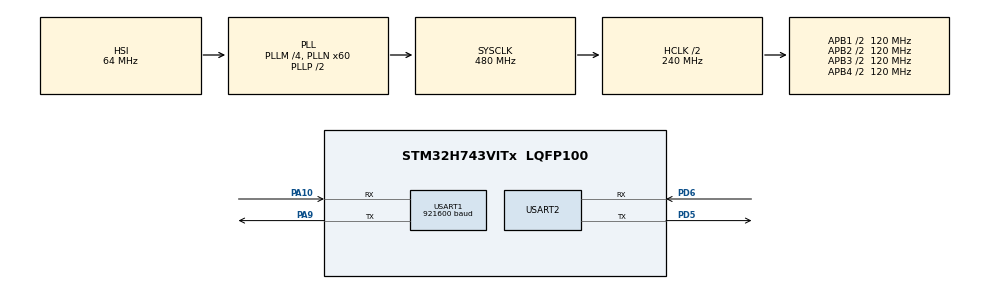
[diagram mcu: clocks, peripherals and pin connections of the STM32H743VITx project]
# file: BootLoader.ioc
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CORTEX_M7.default_mode_Activation=1
Mcu.Family=STM32H7
Mcu.Name=STM32H743VITx
Mcu.Package=LQFP100
NVIC.PriorityGroup=NVIC_PRIORITYGROUP_4
PA10.Mode=Asynchronous
PA10.Signal=USART1_RX
PA9.Mode=Asynchronous
PA9.Signal=USART1_TX
PD5.Mode=Asynchronous
PD5.Signal=USART2_TX
PD6.Mode=Asynchronous
PD6.Signal=USART2_RX
PH0-OSC_IN\ (PH0).Mode=HSE-External-Oscillator
PH0-OSC_IN\ (PH0).Signal=RCC_OSC_IN
PH1-OSC_OUT\ (PH1).Mode=HSE-External-Oscillator
PH1-OSC_OUT\ (PH1).Signal=RCC_OSC_OUT
ProjectManager.HeapSize=0x200
ProjectManager.StackSize=0x400
ProjectManager.TargetToolchain=MDK-ARM V5
RCC.ADCFreq_Value=129000000
RCC.APB1Freq_Value=120000000
RCC.APB2Freq_Value=120000000
RCC.APB3Freq_Value=120000000
RCC.APB4Freq_Value=120000000
RCC.CortexFreq_Value=480000000
RCC.D1PPRE=RCC_APB3_DIV2
RCC.D2PPRE1=RCC_APB1_DIV2
RCC.D2PPRE2=RCC_APB2_DIV2
RCC.D3PPRE=RCC_APB4_DIV2
RCC.DIVM1=4
RCC.DIVN1=60
RCC.HCLKFreq_Value=240000000
RCC.HPRE=RCC_HCLK_DIV2
RCC.HSE_VALUE=25000000
RCC.PLL2FRACN=0
RCC.PLL3FRACN=0
RCC.PLLFRACN=0
RCC.SYSCLKFreq_VALUE=480000000
RCC.SYSCLKSource=RCC_SYSCLKSOURCE_PLLCLK
RCC.USBFreq_Value=480000000
USART1.BaudRate=921600
USART1.Parity=PARITY_EVEN
USART1.StopBits=STOPBITS_2
USART1.VirtualMode-Asynchronous=VM_ASYNC
USART1.WordLength=WORDLENGTH_9B
USART2.VirtualMode-Asynchronous=VM_ASYNC
VP_MEMORYMAP_VS_MEMORYMAP.Mode=CurAppReg
board=custom

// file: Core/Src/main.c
/* USER CODE BEGIN Header */
/**
  ******************************************************************************
  * @file           : main.c
  * @brief          : Main program body
  ******************************************************************************
  * @attention
  *
  * Copyright (c) 2025 STMicroelectronics.
  * All rights reserved.
  *
  * This software is licensed under terms that can be found in the LICENSE file
  * in the root directory of this software component.
  * If no LICENSE file comes with this software, it is provided AS-IS.
  *
  ******************************************************************************
  */
/* USER CODE END Header */
#include "main.h"
#include "memorymap.h"
#include "usart.h"
#include "gpio.h"

/* USER CODE BEGIN Includes */
#include "stdio.h"
#include "string.h"
#include "global_cfg.h"
#include "flash.h"
#include "stdarg.h"
/* USER CODE END Includes */

/* USER CODE BEGIN PM */
// #ifdef __GNUC__
//   #define PUTCHAR_PROTOTYPE int __io_putchar(int ch)
// #else
//   #define PUTCHAR_PROTOTYPE int fputc(int ch, FILE *f)
// #endif

// PUTCHAR_PROTOTYPE
// {
//   HAL_UART_Transmit(&huart1,(uint8_t *)&ch,1,0xFFFF);   //阻塞方式打印,串口1
//   return ch;
// }

void uart1_printf(char *format, ...)
{
  char UartTxBuff[256];
  va_list args;
  uint32_t length;
  va_start(args, format);
  length = vsnprintf((char *)UartTxBuff, 256, (char *)format, args);
  va_end(args);
  HAL_UART_Transmit(&huart1, UartTxBuff, length, 0xfff);

  // HAL_UART_Transmit_DMA(huart, UartTxBuff, length);
}

void info_printf(char *format, ...)
{
  if (INFO_PRINT)
  {
    char UartTxBuff[256];
    va_list args;
    uint32_t length;
    va_start(args, format);
    length = vsnprintf((char *)UartTxBuff, 256, (char *)format, args);
    va_end(args);
   // HAL_UART_Transmit(&huart2, UartTxBuff, length, 0xfff);
    HAL_UART_Transmit(&huart1, UartTxBuff, length, 0xfff);
    // HAL_UART_Transmit_DMA(huart, UartTxBuff, length);
  }
}

/* USER CODE END PM */

/* USER CODE BEGIN PV */
mem_cfg_t mem_cfg = {

    .bootloader_address = BL_ADDR,
    .app1_address = APP1_ADDR,
    .app2_address = APP2_ADDR,
    .cfg_address = CFG_ADDR,
};

/* USER CODE END PV */

void SystemClock_Config(void);
static void MPU_Config(void);
/* USER CODE BEGIN PFP */
void Jump_to_APP2();
/* USER CODE END PFP */

int main(void)
{

  /* MPU Configuration--------------------------------------------------------*/
  MPU_Config();

  /* MCU Configuration--------------------------------------------------------*/

  /* Reset of all peripherals, Initializes the Flash interface and the Systick. */
  HAL_Init();

  /* Configure the system clock */
  SystemClock_Config();

  /* Initialize all configured peripherals */
  MX_GPIO_Init();
  MX_USART1_UART_Init();
  MX_USART2_UART_Init();
  /* USER CODE BEGIN 2 */
  info_printf("BootLoader Running...\r\n");
  info_printf("Read Config...\r\n");
  read_cfg();
  info_printf("\r\n");
  info_printf("--------------------------------------\r\n");
  info_printf("| boot :\t0x%08X           |\r\n", mem_cfg.bootloader_address);
  info_printf("| app1 :\t0x%08X           |\r\n", mem_cfg.app1_address);
  info_printf("| app2 :\t0x%08X           |\r\n", mem_cfg.app2_address);
  info_printf("| curr :\t0x%08X           |\r\n", mem_cfg.current_app_address);
  info_printf("| cfg  :\t0x%08X           |\r\n", mem_cfg.cfg_address);
  info_printf("--------------------------------------\r\n");
  info_printf("\r\n");
  info_printf("Check App...\r\n");
  Jump_to_APP2();

  /* USER CODE END 2 */

  /* Infinite loop */
  while (1)
  {

  }
}

void SystemClock_Config(void)
{
  RCC_OscInitTypeDef RCC_OscInitStruct = {0};
  RCC_ClkInitTypeDef RCC_ClkInitStruct = {0};

  /** Supply configuration update enable
  */
  HAL_PWREx_ConfigSupply(PWR_LDO_SUPPLY);

  /** Configure the main internal regulator output voltage
  */
  __HAL_PWR_VOLTAGESCALING_CONFIG(PWR_REGULATOR_VOLTAGE_SCALE0);

  while(!__HAL_PWR_GET_FLAG(PWR_FLAG_VOSRDY)) {}

  /** Initializes the RCC Oscillators according to the specified parameters
  * in the RCC_OscInitTypeDef structure.
  */
  RCC_OscInitStruct.OscillatorType = RCC_OSCILLATORTYPE_HSI;
  RCC_OscInitStruct.HSIState = RCC_HSI_DIV1;
  RCC_OscInitStruct.HSICalibrationValue = RCC_HSICALIBRATION_DEFAULT;
  RCC_OscInitStruct.PLL.PLLState = RCC_PLL_ON;
  RCC_OscInitStruct.PLL.PLLSource = RCC_PLLSOURCE_HSI;
  RCC_OscInitStruct.PLL.PLLM = 4;
  RCC_OscInitStruct.PLL.PLLN = 60;
  RCC_OscInitStruct.PLL.PLLP = 2;
  RCC_OscInitStruct.PLL.PLLQ = 2;
  RCC_OscInitStruct.PLL.PLLR = 2;
  RCC_OscInitStruct.PLL.PLLRGE = RCC_PLL1VCIRANGE_3;
  RCC_OscInitStruct.PLL.PLLVCOSEL = RCC_PLL1VCOWIDE;
  RCC_OscInitStruct.PLL.PLLFRACN = 0;
  if (HAL_RCC_OscConfig(&RCC_OscInitStruct) != HAL_OK)
  {
    Error_Handler();
  }

  /** Initializes the CPU, AHB and APB buses clocks
  */
  RCC_ClkInitStruct.ClockType = RCC_CLOCKTYPE_HCLK|RCC_CLOCKTYPE_SYSCLK
                              |RCC_CLOCKTYPE_PCLK1|RCC_CLOCKTYPE_PCLK2
                              |RCC_CLOCKTYPE_D3PCLK1|RCC_CLOCKTYPE_D1PCLK1;
  RCC_ClkInitStruct.SYSCLKSource = RCC_SYSCLKSOURCE_PLLCLK;
  RCC_ClkInitStruct.SYSCLKDivider = RCC_SYSCLK_DIV1;
  RCC_ClkInitStruct.AHBCLKDivider = RCC_HCLK_DIV2;
  RCC_ClkInitStruct.APB3CLKDivider = RCC_APB3_DIV2;
  RCC_ClkInitStruct.APB1CLKDivider = RCC_APB1_DIV2;
  RCC_ClkInitStruct.APB2CLKDivider = RCC_APB2_DIV2;
  RCC_ClkInitStruct.APB4CLKDivider = RCC_APB4_DIV2;

  if (HAL_RCC_ClockConfig(&RCC_ClkInitStruct, FLASH_LATENCY_4) != HAL_OK)
  {
    Error_Handler();
  }
}

/* USER CODE BEGIN 4 */
/* Test if user code is programmed starting from address "APPLICATION_ADDRESS" */
uint8_t check_app(uint32_t app_addr)
{
  //info_printf("addr(0x%X): %#x\r\n", app_addr, ((*(volatile uint32_t *)app_addr) & 0x2FFE0000));
  return (((*(volatile uint32_t *)app_addr) & 0x2FFE0000) == 0x24000000);
}

typedef void (*pFunction)(void);
pFunction Jump_To_Application;
void Jump_to_APP(uint32_t app_addr)
{
  uint32_t JumpAddress;
  info_printf("jump to app: %#x\r\n", app_addr);
  __set_PRIMASK(1); // 关总中断  0打开总中断
  JumpAddress = *(volatile uint32_t *)(app_addr + 4);
  Jump_To_Application = (pFunction)JumpAddress;
  info_printf("jump %#x success \r\n", app_addr);
  __set_MSP(*(volatile uint32_t *)app_addr);            // 设置SP指针，复位指针
  SCB->VTOR = FLASH_BASE | mem_cfg.current_app_address; // 设置向量表偏移寄存器
  //__set_CONTROL(0);                                     // 设置为特权级，使用MSP
  Jump_To_Application();                                // 开始跳转
}

void Jump_to_APP2()
{
  if (check_app(mem_cfg.current_app_address))
  {
    info_printf("CurrentAPP Check OK.\r\n");
    Jump_to_APP(mem_cfg.current_app_address);
  }
  else if (check_app(mem_cfg.app1_address))
  {
    info_printf("CurrentAPP Check Failed.\r\n");
    info_printf("APP1 Check OK.\r\n");
    mem_cfg.current_app_address = mem_cfg.app1_address;
    write_cfg();
    // read_cfg();
    Jump_to_APP(mem_cfg.app1_address);
  }
  else if (check_app(mem_cfg.app2_address))
  {
    info_printf("CurrentAPP Check Failed.\r\n");
    info_printf("APP1 Check Failed.\r\n");
    info_printf("APP2 Check OK.\r\n");
    mem_cfg.current_app_address = mem_cfg.app2_address;
    write_cfg();
    Jump_to_APP(mem_cfg.app2_address);
  }
  info_printf("CurrentAPP Check Failed.\r\n");
  info_printf("APP1 Check Failed.\r\n");
  info_printf("APP2 Check Failed.\r\n");

}

/*
 ******************************************************************************************************
 *    函 数 名: JumpToBootloader
 *    功能说明: 跳转到系统BootLoader
 *    形    参: 无
 *    返 回 值: 无
 ******************************************************************************************************
 */
static void JumpToBootloader(void)
{
  uint32_t i = 0;
  void (*SysMemBootJump)(void);        /* 声明一个函数指针 */
  __IO uint32_t BootAddr = 0x1FF09800; /* STM32H7的系统BootLoader地址 */

  /* 关闭全局中断 */
   __set_PRIMASK(1);

  /* 关闭滴答定时器，复位到默认值 */
  SysTick->CTRL = 0;
  SysTick->LOAD = 0;
  SysTick->VAL = 0;

  /* 设置所有时钟到默认状态，使用HSI时钟 */
  HAL_RCC_DeInit();

  /* 关闭所有中断，清除所有中断挂起标志 */
  for (i = 0; i < 8; i++)
  {
    NVIC->ICER[i] = 0xFFFFFFFF;
    NVIC->ICPR[i] = 0xFFFFFFFF;
  }

  /* 使能全局中断 */
  __set_PRIMASK(0);

  /* 跳转到系统BootLoader，首地址是MSP，地址+4是复位中断服务程序地址 */
  SysMemBootJump = (void (*)(void))(*((uint32_t *)(BootAddr + 4)));

  /* 设置主堆栈指针 */
  __set_MSP(*(uint32_t *)BootAddr);

  /* 在RTOS工程，这条语句很重要，设置为特权级模式，使用MSP指针 */
  __set_CONTROL(0);

  /* 跳转到系统BootLoader */
  SysMemBootJump();

  /* 跳转成功的话，不会执行到这里，用户可以在这里添加代码 */
  while (1)
  {
  }
}

/* USER CODE END 4 */

 /* MPU Configuration */

void MPU_Config(void)
{
  MPU_Region_InitTypeDef MPU_InitStruct = {0};

  /* Disables the MPU */
  HAL_MPU_Disable();

  /** Initializes and configures the Region and the memory to be protected
  */
  MPU_InitStruct.Enable = MPU_REGION_ENABLE;
  MPU_InitStruct.Number = MPU_REGION_NUMBER0;
  MPU_InitStruct.BaseAddress = 0x0;
  MPU_InitStruct.Size = MPU_REGION_SIZE_4GB;
  MPU_InitStruct.SubRegionDisable = 0x87;
  MPU_InitStruct.TypeExtField = MPU_TEX_LEVEL0;
  MPU_InitStruct.AccessPermission = MPU_REGION_NO_ACCESS;
  MPU_InitStruct.DisableExec = MPU_INSTRUCTION_ACCESS_DISABLE;
  MPU_InitStruct.IsShareable = MPU_ACCESS_SHAREABLE;
  MPU_InitStruct.IsCacheable = MPU_ACCESS_NOT_CACHEABLE;
  MPU_InitStruct.IsBufferable = MPU_ACCESS_NOT_BUFFERABLE;

  HAL_MPU_ConfigRegion(&MPU_InitStruct);
  /* Enables the MPU */
  HAL_MPU_Enable(MPU_PRIVILEGED_DEFAULT);

}

void Error_Handler(void)
{
  __disable_irq();
  while (1)
  {
  }
}
